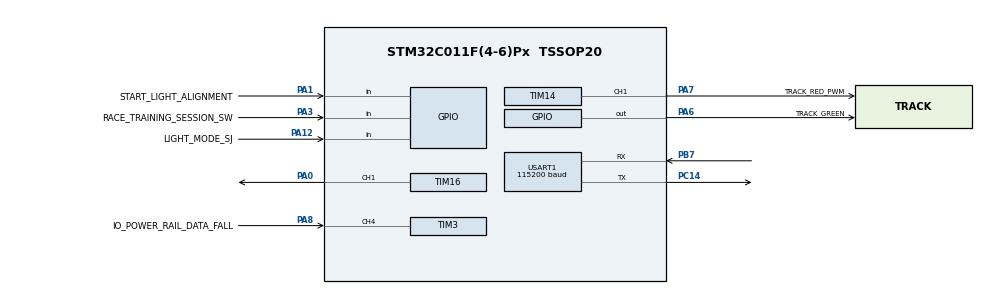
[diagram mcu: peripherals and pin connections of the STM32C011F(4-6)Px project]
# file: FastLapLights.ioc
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Dma.Request0=TIM16_CH1
Dma.Request1=USART1_TX
Dma.TIM16_CH1.0.Direction=DMA_MEMORY_TO_PERIPH
Dma.TIM16_CH1.0.EventEnable=DISABLE
Dma.TIM16_CH1.0.Instance=DMA1_Channel1
Dma.TIM16_CH1.0.MemDataAlignment=DMA_MDATAALIGN_HALFWORD
Dma.TIM16_CH1.0.MemInc=DMA_MINC_ENABLE
Dma.TIM16_CH1.0.Mode=DMA_NORMAL
Dma.TIM16_CH1.0.PeriphDataAlignment=DMA_PDATAALIGN_HALFWORD
Dma.TIM16_CH1.0.PeriphInc=DMA_PINC_DISABLE
Dma.TIM16_CH1.0.Polarity=HAL_DMAMUX_REQ_GEN_RISING
Dma.TIM16_CH1.0.Priority=DMA_PRIORITY_LOW
Dma.TIM16_CH1.0.RequestNumber=1
Dma.TIM16_CH1.0.SignalID=NONE
Dma.TIM16_CH1.0.SyncEnable=DISABLE
Dma.TIM16_CH1.0.SyncPolarity=HAL_DMAMUX_SYNC_NO_EVENT
Dma.TIM16_CH1.0.SyncRequestNumber=1
Dma.TIM16_CH1.0.SyncSignalID=NONE
Dma.USART1_TX.1.Direction=DMA_MEMORY_TO_PERIPH
Dma.USART1_TX.1.EventEnable=DISABLE
Dma.USART1_TX.1.Instance=DMA1_Channel2
Dma.USART1_TX.1.MemDataAlignment=DMA_MDATAALIGN_BYTE
Dma.USART1_TX.1.MemInc=DMA_MINC_ENABLE
Dma.USART1_TX.1.Mode=DMA_NORMAL
Dma.USART1_TX.1.PeriphDataAlignment=DMA_PDATAALIGN_BYTE
Dma.USART1_TX.1.PeriphInc=DMA_PINC_DISABLE
Dma.USART1_TX.1.Polarity=HAL_DMAMUX_REQ_GEN_RISING
Dma.USART1_TX.1.Priority=DMA_PRIORITY_LOW
Dma.USART1_TX.1.RequestNumber=1
Dma.USART1_TX.1.SignalID=NONE
Dma.USART1_TX.1.SyncEnable=DISABLE
Dma.USART1_TX.1.SyncPolarity=HAL_DMAMUX_SYNC_NO_EVENT
Dma.USART1_TX.1.SyncRequestNumber=1
Dma.USART1_TX.1.SyncSignalID=NONE
Mcu.Family=STM32C0
Mcu.Name=STM32C011F(4-6)Px
Mcu.Package=TSSOP20
NVIC.DMA1_Channel1_IRQn=true\:0\:0\:false\:false\:true\:false\:true\:true
NVIC.DMA1_Channel2_3_IRQn=true\:0\:0\:false\:false\:true\:false\:true\:true
NVIC.TIM3_IRQn=true\:0\:0\:false\:false\:true\:true\:true\:true
PA0.GPIO_Speed=GPIO_SPEED_FREQ_HIGH
PA0.Signal=S_TIM16_CH1
PA1.GPIO_Label=START_LIGHT_ALIGNMENT
PA1.GPIO_PuPd=GPIO_PULLUP
PA1.Signal=GPIO_Input
PA12\ [PA10].GPIO_Label=LIGHT_MODE_SJ
PA12\ [PA10].GPIO_PuPd=GPIO_PULLUP
PA12\ [PA10].Signal=GPIO_Input
PA13.Mode=Serial_Wire
PA13.Signal=DEBUG_SWDIO
PA14-BOOT0.Mode=Serial_Wire
PA14-BOOT0.Signal=DEBUG_SWCLK
PA3.GPIO_Label=RACE_TRAINING_SESSION_SW
PA3.GPIO_PuPd=GPIO_PULLUP
PA3.Signal=GPIO_Input
PA6.GPIO_Label=TRACK_GREEN
PA6.Signal=GPIO_Output
PA7.GPIO_Label=TRACK_RED_PWM
PA7.Signal=S_TIM14_CH1
PA8.GPIO_Label=IO_POWER_RAIL_DATA_FALL
PA8.Signal=S_TIM3_CH4
PB7.GPIO_ModeDefaultPP=GPIO_MODE_AF_PP
PB7.GPIO_PuPd=GPIO_PULLUP
PB7.Mode=Asynchronous
PB7.Signal=USART1_RX
PC14-OSCX_IN\ (PC14).GPIO_ModeDefaultPP=GPIO_MODE_AF_PP
PC14-OSCX_IN\ (PC14).Mode=Asynchronous
PC14-OSCX_IN\ (PC14).Signal=USART1_TX
ProjectManager.HeapSize=0x200
ProjectManager.StackSize=0x400
ProjectManager.TargetToolchain=STM32CubeIDE
RCC.ADCFreq_Value=48000000
RCC.AHBFreq_Value=48000000
RCC.CortexFreq_Value=48000000
RCC.EXTERNAL_CLOCK_VALUE=12288000
RCC.HCLKFreq_Value=48000000
RCC.HSE_VALUE=8000000
RCC.HSISYSCLKDivider=RCC_HSI_DIV1
RCC.HSI_VALUE=48000000
RCC.LSE_VALUE=32768
RCC.SYSCLKFreq_VALUE=48000000
SH.S_TIM14_CH1.0=TIM14_CH1,PWM Generation1 CH1
SH.S_TIM16_CH1.0=TIM16_CH1,PWM Generation1 CH1
SH.S_TIM3_CH4.0=TIM3_CH4,Input_Capture4_from_TI4
TIM14.Channel=TIM_CHANNEL_1
TIM14.Period=100
TIM14.Prescaler=47
TIM16.AutoReloadPreload=TIM_AUTORELOAD_PRELOAD_ENABLE
TIM16.Channel=TIM_CHANNEL_1
TIM16.Period=3-1
TIM16.Prescaler=20-1
TIM3.Channel-Input_Capture4_from_TI4=TIM_CHANNEL_4
TIM3.ICPolarity_CH4=TIM_INPUTCHANNELPOLARITY_BOTHEDGE
TIM3.Prescaler=74
USART1.BaudRate=115200
USART1.Mode=MODE_TX
USART1.VirtualMode-Asynchronous=VM_ASYNC
VP_TIM14_VS_ClockSourceINT.Mode=Enable_Timer
VP_TIM16_VS_ClockSourceINT.Mode=Enable_Timer
VP_TIM3_VS_ClockSourceINT.Mode=Internal
board=custom

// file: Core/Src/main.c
/* USER CODE BEGIN Header */
/**
 ******************************************************************************
 * @file           : main.c
 * @brief          : Main program body
 ******************************************************************************
 * @attention
 *
 * Copyright (c) 2025 STMicroelectronics.
 * All rights reserved.
 *
 * This software is licensed under terms that can be found in the LICENSE file
 * in the root directory of this software component.
 * If no LICENSE file comes with this software, it is provided AS-IS.
 *
 ******************************************************************************
 */
/* USER CODE END Header */
#include "main.h"

/* USER CODE BEGIN Includes */
#include "track_data_decoder.h"
#include "ws2812b_start_lights.h"
/* USER CODE END Includes */

/* USER CODE BEGIN PTD */
typedef enum {
	START_LIGHT_MODE,
	PIT_LANE_LIGHT_MODE
} LightMode;

typedef enum {
	ALIGNMENT_VERTICAL,
	ALIGNMENT_HORIZONTAL
}StartLightAlignment;

typedef enum {
	RACE,
	QUALIFYING_TRAINING
}SessionType;

typedef enum {
	RACE_STATE_STARTUP,
	RACE_STATE_RED_FLAG,
	RACE_STATE_YELLOW_FLAG,
	RACE_STATE_GREEN_FLAG,
	RACE_STATE_START_PROC,
	RACE_STATE_JUMP_START,
	RACE_STATE_OPEN
} RaceState;

typedef enum {
	UART_TX_BUFFER_FULL,
	UART_TX_BUFFER_TIMEOUT,
	UART_TX_FORCE
} UartTxTransmitReason;

typedef struct {
	RaceState curr;
	RaceState prev;
} RaceStateHistory;

typedef struct {
	uint8_t red_count; 			// 0 - 5
	uint8_t red_count_prev;
	uint8_t yellow_flag; 		// 0 - 1
	uint8_t yellow_flag_prev;
	uint8_t green_flag; 		// 0 - 1
	uint8_t green_flag_prev;
	uint8_t update_flag;
} StartLightValue;

typedef struct {
	uint16_t message_started;
	uint16_t start_time;
	uint16_t gap;
	uint16_t last_rising;
	uint16_t last_falling;
	uint16_t first_rising;
	uint16_t data;
} ManchesterDecoder;

typedef struct {
	uint8_t fuel;
	uint8_t position;
	uint8_t finished;
	uint8_t laps;
} DriverData;

typedef struct {
	DriverData 	driver_data[6];
	uint8_t		fastest_lap_driver;
	uint8_t		start_lights;
	uint8_t		lap_count;
	uint8_t		lap_count_nibble_completed;
	uint8_t		reset_event;
	RaceState	race_state;
	SessionType	session_type;
} RaceInfo;

/* USER CODE END PTD */

/* USER CODE BEGIN PD */
#define CIRC_BUF_LEN       	8U
#define UART_TX_BUF_LEN		(32U) //32U

#define HALF_BIT_TICKS   32
#define FULL_BIT_TICKS   64
#define GAP_THRESHOLD    132   // consider 160 as safer midpoint
#define GLITCH_FILTER    10    // ignore pulses shorter than ~16 µs
/* USER CODE END PD */

TIM_HandleTypeDef htim16;
DMA_HandleTypeDef hdma_tim16_ch1;

/* USER CODE BEGIN PV */
uint32_t 			track_counter = 0;
uint32_t 			millis_sync_prev = 0;
uint16_t 			millis_sync_state_change_flag = 0;

// manchester decoder
volatile ManchesterDecoder 	data_manchester[CIRC_BUF_LEN] = {0};
volatile uint16_t 			data_manchester_circular_index = 0;
volatile uint16_t 			data_manchester_circular_read_index = 0;
uint16_t 					difference_rw = 0;
volatile uint16_t 			track_data_available = 0;
uint16_t 					message_to_proceed = 0;
uint16_t					last_edge = 0;

// race state
RaceStateHistory 	race_state = {RACE_STATE_STARTUP, RACE_STATE_STARTUP};
StartLightValue 	start_light_value = {0};
uint8_t 			safetycar_debounce = 0; // neccessary because of ghost car messages
uint32_t 			green_flag_triggered_time = 0;
uint32_t 			safetycar_flash_interval = 0;
uint32_t 			green_flag_millis_flash = 0;
uint32_t 			jump_start_millis_flash = 0;

LightMode 			light_mode = START_LIGHT_MODE;
StartLightAlignment start_light_alignment = ALIGNMENT_HORIZONTAL;
SessionType 		session_type = RACE;
uint32_t 			start_light_change_time = 0;
HAL_StatusTypeDef 	dma_status_pwm = HAL_OK;

// driver data
DriverData			driver_data[6]								= {0};

// uart
static 	 uint8_t	uart_tx_buffer[UART_TX_BUF_LEN] 			;
uint32_t 			uart_tx_last_transmit						= 0;
/*
 * 0x01 - race state
 * 0x02 - driver data (fuel, laps, position)
 * 0x04 - start lights
 * 0x08 - reset
 * 0x10 - race finished
 * 0x20 - new fastest lap
 * 0x40 - session type (race, practice)
 */

volatile RaceInfo	uart_race_info = {
		.driver_data = {
				{ .fuel = 0, .position = 0, .finished = 0, .laps = 0 },
				{ .fuel = 0, .position = 0, .finished = 0, .laps = 0 },
				{ .fuel = 0, .position = 0, .finished = 0, .laps = 0 },
				{ .fuel = 0, .position = 0, .finished = 0, .laps = 0 },
				{ .fuel = 0, .position = 0, .finished = 0, .laps = 0 },
				{ .fuel = 0, .position = 0, .finished = 0, .laps = 0 }
		},
		.fastest_lap_driver = 0xFF,       // 0xFF no fastest lap yet
		.start_lights = 0,
		.lap_count = 0,
		.lap_count_nibble_completed = 1,
		.reset_event = 0,
		.race_state = RACE_STATE_STARTUP,
		.session_type = RACE
};

volatile uint16_t 	difference_channel2 = 0;
volatile uint16_t 	last_rising = 0;
/* USER CODE END PV */

void SystemClock_Config(void);
static void MX_GPIO_Init(void);
static void MX_DMA_Init(void);
static void MX_TIM3_Init(void);
static void MX_TIM14_Init(void);
static void MX_TIM16_Init(void);
static void MX_USART1_UART_Init(void);
/* USER CODE BEGIN PFP */
CuMessage decode_manchester(uint16_t message);
void track_data_callback(uint16_t capture, uint8_t direction);
void (*ptr_man_capture_isr)(uint16_t capture, uint8_t direction) = 0;
/* USER CODE END PFP */

/* USER CODE BEGIN 0 */

/*
 * circular buffer methods - manchester decoder
 */

/*static inline uint16_t circ_index(uint16_t i) {
	return i % CIRC_BUF_LEN;
}*/

static inline uint16_t circ_next(uint16_t i) {
	return (i + 1) & 0x0007; //% CIRC_BUF_LEN;
}

/*static inline uint16_t circ_prev(uint16_t i) {
	return (i + CIRC_BUF_LEN - 1) % CIRC_BUF_LEN;
}*/

static inline uint16_t circ_distance(uint16_t from, uint16_t to) {
	return (to >= from) ? (to - from) : (CIRC_BUF_LEN - from + to);
}

static inline void update_race_state(RaceStateHistory *stateHistory, RaceState newState) {
	stateHistory->prev = stateHistory->curr;
	stateHistory->curr = newState;
	uart_race_info.race_state = newState;
}

/*
 * update functions
 */

static inline void update_start_light_value_red(StartLightValue *startLightValue, uint8_t newValue) {
	startLightValue->red_count_prev = startLightValue->red_count;
	startLightValue->red_count = newValue;
	startLightValue->update_flag = 1;
	uart_race_info.start_lights = newValue;
}
static inline void update_start_light_value_green(StartLightValue *startLightValue, uint8_t newValue) {
	startLightValue->green_flag_prev = startLightValue->green_flag;
	startLightValue->green_flag = newValue;
	startLightValue->update_flag = 1;
}
static inline void update_start_light_value_yellow(StartLightValue *startLightValue, uint8_t newValue) {
	startLightValue->yellow_flag_prev = startLightValue->yellow_flag;
	startLightValue->yellow_flag = newValue;
	startLightValue->update_flag = 1;
}
/* USER CODE END 0 */

int main(void)
{

  /* USER CODE BEGIN 1 */
	ptr_man_capture_isr = track_data_callback;

  /* USER CODE END 1 */

  /* MCU Configuration--------------------------------------------------------*/

  /* Reset of all peripherals, Initializes the Flash interface and the Systick. */
  HAL_Init();

  /* Configure the system clock */
  SystemClock_Config();

  /* Initialize all configured peripherals */
  MX_GPIO_Init();
  MX_DMA_Init();
  MX_TIM3_Init();
  MX_TIM14_Init();
  MX_TIM16_Init();
  MX_USART1_UART_Init();
  /* USER CODE BEGIN 2 */

	// init ws2812b
	HAL_TIM_PWM_MspInit(&htim16);
	dma_status_pwm = start_lights_init(&htim16, TIM_CHANNEL_1, TIM_DIER_CC1DE);

	// init track interrupt
	//HAL_TIM_IC_Start_IT(&htim3, TIM_CHANNEL_4);
	LL_TIM_CC_EnableChannel(TIM3, LL_TIM_CHANNEL_CH4);
	LL_TIM_EnableIT_CC4(TIM3);
	LL_TIM_EnableCounter(TIM3);

	// init light behavior
	light_mode = HAL_GPIO_ReadPin(GPIOA, LIGHT_MODE_SJ_Pin) == 1 ? START_LIGHT_MODE : PIT_LANE_LIGHT_MODE;
	start_light_alignment = HAL_GPIO_ReadPin(START_LIGHT_ALIGNMENT_GPIO_Port, START_LIGHT_ALIGNMENT_Pin) == 1 ?
			ALIGNMENT_HORIZONTAL : ALIGNMENT_VERTICAL;
	session_type = HAL_GPIO_ReadPin(RACE_TRAINING_SESSION_SW_GPIO_Port, RACE_TRAINING_SESSION_SW_Pin) == 0 ? RACE : QUALIFYING_TRAINING;
	uart_race_info.session_type = session_type;

	// init track lights
	//HAL_TIM_PWM_Start(&htim14, TIM_CHANNEL_1); // red
	// Enable output
	LL_TIM_CC_EnableChannel(TIM14, LL_TIM_CHANNEL_CH1);
	// Enable counter
	LL_TIM_EnableCounter(TIM14);
	// Force update generation to apply settings
	//LL_TIM_GenerateEvent_UPDATE(TIM14);

	TIM14->CCR1 = 0;//80;
	HAL_GPIO_WritePin(TRACK_GREEN_GPIO_Port, TRACK_GREEN_Pin, GPIO_PIN_RESET);

	//HAL_UART_Receive_DMA(&huart1, uart_rx_buffer, UART_TX_BUF_LEN);

  /* USER CODE END 2 */

  /* Infinite loop */
	while (1)
	{

    /* USER CODE BEGIN 3 */

		// BLOCK 1 - DECODE MANCHESTER DATA
		difference_rw = circ_distance(data_manchester_circular_read_index, data_manchester_circular_index);
		if (3 < difference_rw){
			uint16_t read_to = data_manchester_circular_index;
			uint16_t read_index = data_manchester_circular_read_index;

			while (read_index != read_to){

				/*
				 * Process
				 *
				 * Filter the message of interest here
				 *
				 * For the lights we need safety car and status messages.
				 *
				 * If the safety car is released, choose this one. Otherwise we only
				 * need the status messages.
				 *
				 * Status messages
				 * 	lights should be indicated with 0x17 (and)
				 * 	jump start indicated with (((0x000F << 8) & message) == (0x001 << 11)) && ((0x000D << 4) & message)
				 *
				 * Safety car message
				 * 	indicated with 0b0000001111000000;
				 */

				if (( data_manchester[read_index].data> 512-1 ) && (data_manchester[read_index].data < 1024)){
					// car message
					if ( (data_manchester[read_index].data & (0x0007 << 6)) == (0x0007 << 6)){
						// safety car message
						if (data_manchester[read_index].data & (0x0001 << 1)){
							// safety car active - high priority message
							message_to_proceed = data_manchester[read_index].data;
						} else if (message_to_proceed == 0){
							// safety car message  - low priority message
							// necessary to detect if release was withdrawn
							message_to_proceed = data_manchester[read_index].data;
						}
					}
				} else if ((data_manchester[read_index].data > 4096-1) && (data_manchester[read_index].data < 8192)){
					// control unit message
					track_counter++; // message block repeats every 75ms

					uint16_t encode_signal = data_manchester[read_index].data;
					uint8_t controller =
							((encode_signal >> 0) & 0x01) << 2 |
							((encode_signal >> 1) & 0x01) << 1 |
							((encode_signal >> 2) & 0x01) << 0;

					uint8_t command =
							((encode_signal >> 3) & 0x01) << 4 |
							((encode_signal >> 4) & 0x01) << 3 |
							((encode_signal >> 5) & 0x01) << 2 |
							((encode_signal >> 6) & 0x01) << 1 |
							((encode_signal >> 7) & 0x01) << 0;

					uint8_t value =
							((encode_signal >> 8) & 0x01) << 3 |
							((encode_signal >> 9) & 0x01) << 2 |
							((encode_signal >> 10) & 0x01) << 1 |
							((encode_signal >> 11) & 0x01) << 0;

					if ((11 == command) && (1 == value)){
						// jump start
						message_to_proceed = data_manchester[read_index].data;
					} else if ((16 == command) && (7 == controller)){
						// start light
						message_to_proceed = data_manchester[read_index].data;
					} else {
						// catch unprocessed cu data for uart

						// unfortunately we have to go through various if statements.
						if ((6 > controller) && !(0 == command)){
							// things we never ever want to proceed
							if (4 == command){
								if (8 > value){
									// fuel level of car - 7 is full
									uart_race_info.driver_data[controller].fuel = value;
								} else if (16 > value){
									// not really neccessary. Called at jump start
									uart_race_info.driver_data[controller].fuel = value - 8;
								}
							}else if (6 == command){
								if (value < 9){
									// postition
									value--; // position -1 to fit in 4 bits
									uart_race_info.driver_data[controller].position = value;
								} else if (9 == value) {
									// reset lap counter and positions
									uart_race_info.reset_event = 1;
									uart_race_info.lap_count = 0;
									for (uint8_t _cntrl = 0; _cntrl < 6; _cntrl++){
										uart_race_info.driver_data[controller].finished = 0;
										uart_race_info.driver_data[controller].position = 0;
										uart_race_info.driver_data[controller].fuel = 0;
										uart_race_info.driver_data[controller].laps = 0;
									}
								}
							} else if (7 == command){
								// driver finishes race
								uart_race_info.driver_data[controller].finished = 1;
							} else if (8 == command){
								// driver finishes lap / race with new fastest lap
								uart_race_info.fastest_lap_driver = controller;
								uart_race_info.driver_data[controller].laps++;
							} else if (9 == command){
								// driver finishes lap / race wiout new fastest lap
								uart_race_info.driver_data[controller].laps++;
							} else if ((10 == command) && (8 > value)){
								// fuel level of car - 7 is full
								uart_race_info.driver_data[controller].fuel = value;
							}
						} else if ((17 == command) && (7 == controller)){
							// first nibble lap count leader
							uart_race_info.lap_count = value << 4;
							uart_race_info.lap_count_nibble_completed = 0;
						} else if ((18 == command) && (7 == controller)){
							// first nibble lap count leader
							uart_race_info.lap_count |= value;
							uart_race_info.lap_count_nibble_completed = 1;
						}
					} // catch unprocessed cu data for uart end
				} // control unit message end

				if (message_to_proceed > 0)
					track_data_available = 1;

				read_index = circ_next(read_index); // ends with actual write index
			}
			data_manchester_circular_read_index = read_index;
		}

		// BLOCK 2 - PROCESS ALTERNATING PROCESSES

		/*
		 * Use control unit message interval as clock (kind of synchronization pulse)
		 * for time based alterations at the lights. This is necessary when
		 * more then one controller controls different lights on the track
		 * to avoid drift in blinks.
		 *
		 * The increment frequency is 13.3 Hz (75ms)
		 */
		millis_sync_state_change_flag = millis_sync_prev != track_counter ? 1 : 0;
		millis_sync_prev = track_counter;

		// do some stuff with 1.3 Hz (750ms)
		if ((9 < track_counter - uart_tx_last_transmit) && (1 == millis_sync_state_change_flag)){
			/*
			 * Read Race State
			 */
			session_type = HAL_GPIO_ReadPin(RACE_TRAINING_SESSION_SW_GPIO_Port, RACE_TRAINING_SESSION_SW_Pin) == 0 ? RACE : QUALIFYING_TRAINING;
			uart_race_info.session_type = session_type;

			/*
			 * Transmit race state info
			 */
			uint8_t write_index = 0;
			for (uint8_t _driver = 0; _driver < 6; _driver++){
				uart_tx_buffer[write_index++] = 0x00 | uart_race_info.driver_data[_driver].position;
				uart_tx_buffer[write_index++] = 0x00 | uart_race_info.driver_data[_driver].fuel;
				uart_tx_buffer[write_index++] = 0x00 | uart_race_info.driver_data[_driver].laps;
				uart_tx_buffer[write_index++] = 0x00 | uart_race_info.driver_data[_driver].finished;
			}

			uart_tx_buffer[write_index++] = 0x00 | uart_race_info.fastest_lap_driver;
			uart_tx_buffer[write_index++] = 0x00 | uart_race_info.start_lights;
			uart_tx_buffer[write_index++] = 0x00 | uart_race_info.lap_count;
			uart_tx_buffer[write_index++] = 0x00 | uart_race_info.reset_event;
			uart_tx_buffer[write_index++] = 0x00 | uart_race_info.race_state;
			uart_tx_buffer[write_index++] = 0x00 | uart_race_info.session_type;

			uart_tx_buffer[write_index++] = (0xFF00 & track_counter) >> 8;
			uart_tx_buffer[write_index++] = (0x00FF & track_counter);

			LL_DMA_DisableChannel(DMA1, LL_DMA_CHANNEL_2);
			LL_DMA_EnableIT_TC(DMA1, LL_DMA_CHANNEL_2); // RX complete interrupt
			LL_DMA_EnableChannel(DMA1, LL_DMA_CHANNEL_2);

			// reset track reset event
			uart_race_info.reset_event = 0;
		}

		// BLOCK 3 - PROCESS THE MESSAGES THAT CONTROLS THE LIGHTS

		/*
		 * Process the messages
		 *
		 * Assumption is, that the execution interval is smaller than 75ms.
		 * This is the time until the next message block will be sent by the control unit.
		 *
		 * If this is the case, only one message contains data of interest.
		 * A really unlikely case is, when the safety car button will be pressed in the same
		 * message block the starting lights went off. But this is almost impossible due to
		 * bufferical limits. Try it, but you have round about 6.5ms to engage safety car key
		 * after the start lights went off ;)
		 *
		 */
		if (track_data_available == 1){
			track_data_available = 0;

			// decode cu message
			CuMessage decoded_data = decode_manchester(message_to_proceed);
			message_to_proceed = 0;

			// set start light instantly
			if (CU_START_LIGHT == decoded_data.type){
				update_start_light_value_red(&start_light_value, decoded_data.value);

				if (decoded_data.value == 5 ){
					if (race_state.curr != RACE_STATE_START_PROC) // if start proc then it relates to it
						update_race_state(&race_state, RACE_STATE_RED_FLAG);
				} else if (decoded_data.value == 1) //
					update_race_state(&race_state, RACE_STATE_START_PROC);
				else if (decoded_data.value == 0) {
					if  ((race_state.curr == RACE_STATE_START_PROC) && race_state.prev == RACE_STATE_RED_FLAG){
						start_light_change_time = track_counter;
					}
					else if (race_state.curr == RACE_STATE_RED_FLAG){
						update_race_state(&race_state, RACE_STATE_GREEN_FLAG);
						green_flag_triggered_time = track_counter;
					}
				}
			}

			if (RACE_STATE_START_PROC == race_state.curr){
				if (!start_light_value.red_count && (track_counter - start_light_change_time > 6)){ // (!start_light_value.red_count && (millis - start_light_change_time > 400))
					update_race_state(&race_state, RACE_STATE_OPEN);
					if ((PIT_LANE_LIGHT_MODE == light_mode) || (QUALIFYING_TRAINING == session_type))
						start_light_value.update_flag = 1;
				}
			}

			if (CU_CONTROLLER_JUMPSTART == decoded_data.type){
				update_race_state(&race_state, RACE_STATE_JUMP_START);
			}

			// check for yellow flag
			if (CU_CONTROLLER_SAFETY_CAR == decoded_data.type){
				if (decoded_data.value && (race_state.curr != RACE_STATE_YELLOW_FLAG))
					safetycar_debounce++;

				if (!decoded_data.value && (race_state.curr == RACE_STATE_YELLOW_FLAG))
					safetycar_debounce--;

				if ((1 < safetycar_debounce) && (race_state.curr != RACE_STATE_YELLOW_FLAG))
					update_race_state(&race_state, RACE_STATE_YELLOW_FLAG);

				if ((safetycar_debounce == 0) && (race_state.curr == RACE_STATE_YELLOW_FLAG)){
					update_race_state(&race_state, RACE_STATE_GREEN_FLAG);
					green_flag_triggered_time = track_counter;
				}
			}
		}

		/*
		 * Update the lights and update race state if required (green flag)
		 */

		// start light value changed
		if (start_light_value.red_count != start_light_value.red_count_prev)
			update_start_light_value_red(&start_light_value, start_light_value.red_count);

		// SAFETY CAR
		if (RACE_STATE_YELLOW_FLAG == race_state.curr){
			if (track_counter - safetycar_flash_interval > 3){ // (millis - safetycar_flash_interval > 200){
				safetycar_flash_interval = track_counter;
				if (0 == start_light_value.yellow_flag)
					update_start_light_value_yellow(&start_light_value, 1);
				else
					update_start_light_value_yellow(&start_light_value, 0);
			}
		} else {
			if (start_light_value.yellow_flag && (RACE_STATE_JUMP_START != race_state.curr)){
				update_start_light_value_yellow(&start_light_value, 0);
				update_start_light_value_yellow(&start_light_value, 0);
			}
		}

		// green flag
		if (RACE_STATE_GREEN_FLAG == race_state.curr){
			if (track_counter - green_flag_millis_flash > 7){ // (millis - green_flag_millis_flash > 500)
				if (!start_light_value.green_flag){
					green_flag_millis_flash = track_counter;
					update_start_light_value_green(&start_light_value, 1);
				}else {
					green_flag_millis_flash = track_counter;
					update_start_light_value_green(&start_light_value, 0);
				}
			}

			if (track_counter - green_flag_triggered_time > 142) //millis - green_flag_triggered_time > 10000
				update_race_state(&race_state, RACE_STATE_OPEN);
		}else{
			if ((1 == start_light_value.green_flag) && (RACE == session_type))
				update_start_light_value_green(&start_light_value, 0);
			else if ((0 == start_light_value.green_flag) && (QUALIFYING_TRAINING == session_type) && (RACE_STATE_OPEN == race_state.curr))
				update_start_light_value_green(&start_light_value, 1);
			else if ((1 == start_light_value.green_flag) && (QUALIFYING_TRAINING == session_type) && (RACE_STATE_OPEN != race_state.curr))
				update_start_light_value_green(&start_light_value, 0);
		}

		// JUMP START
		if (RACE_STATE_JUMP_START == race_state.curr){
			if (track_counter - jump_start_millis_flash > 7){ //(millis - jump_start_millis_flash > 500)
				jump_start_millis_flash = track_counter;
				update_start_light_value_red(&start_light_value, 5);
				if (!start_light_value.yellow_flag)
					update_start_light_value_yellow(&start_light_value, 1);
				else
					update_start_light_value_yellow(&start_light_value, 0);
			}
		}

		// BLOCK 4 - SET THE LIGHS

		/*
		 * state changes come with changes to the traffic lights
		 */
		if (start_light_value.update_flag){
			start_light_value.update_flag = 0;

			/*
			 * SET TRACK LIGHTS
			 */
			uint16_t track_light_green = 0;
			uint16_t track_light_red = 0;

			if (race_state.curr == RACE_STATE_RED_FLAG)
				track_light_red = 100;

			if (race_state.curr == RACE_STATE_YELLOW_FLAG)
				if (start_light_value.yellow_flag){
					track_light_green = 1;
					track_light_red = 66;
				}

			if (start_light_value.green_flag)
				track_light_green = 1;

			if (track_light_green)
				HAL_GPIO_WritePin(TRACK_GREEN_GPIO_Port, TRACK_GREEN_Pin, GPIO_PIN_SET);
			else
				HAL_GPIO_WritePin(TRACK_GREEN_GPIO_Port, TRACK_GREEN_Pin, GPIO_PIN_RESET);
			TIM14->CCR1 = track_light_red;

			/*
			 * SET PIT LANE LIGHT
			 */
			if (PIT_LANE_LIGHT_MODE == light_mode){
				if ((RACE_STATE_RED_FLAG == race_state.curr) || (RACE_STATE_JUMP_START == race_state.curr) ||
						((RACE_STATE_START_PROC == race_state.curr))){
					for (uint16_t lights = 0; lights < 3; lights++){
						if (0 == lights)
							start_lights_set_colour(lights, 0, 0, 0);
						else {
							start_lights_set_colour(lights, 200, 0, 0);
						}
					}
				} else {
					for (uint16_t lights = 0; lights < 3; lights++){
						if (0 == lights)
							start_lights_set_colour(lights, 0, 100, 0);
						else {
							start_lights_set_colour(lights, 0, 0, 0);
						}
					}
				}
			}

			/*
			 * SET START LIGHT
			 */
			if (START_LIGHT_MODE == light_mode){
				// it must be soldered from left to right
				if (ALIGNMENT_HORIZONTAL == start_light_alignment){
					// horizontal alignment
					if (start_light_value.yellow_flag){
						for (uint8_t ylight = 0; ylight < 5; ylight++){
							start_lights_set_colour(ylight, 80, 25 , 0); 		// front
							start_lights_set_colour(ylight+35, 80, 25 , 0); 	// back
						}
					} else {
						for (uint8_t ylight = 0; ylight < 5; ylight++){
							start_lights_set_colour(ylight, 0, 0 , 0);
							start_lights_set_colour(ylight+35, 0, 0 , 0);
						}
					}

					if (start_light_value.green_flag){
						for (uint8_t glight = 0; glight < 5; glight++){
							start_lights_set_colour(glight+5, 0, 200 , 0);		// front
							start_lights_set_colour(glight+30, 0, 200 , 0);	// back
						}
					} else {
						for (uint8_t glight = 0; glight < 5; glight++){
							start_lights_set_colour(glight+5, 0, 0 , 0);
							start_lights_set_colour(glight+30, 0, 0 , 0);
						}
					}

					// zero all red lights
					for (uint8_t light = 0; light < 20; light++){
						start_lights_set_colour(light+10, 0, 0, 0);
					}
					if (start_light_value.red_count){
						for (uint8_t light = 0; light < start_light_value.red_count; light++){
							start_lights_set_colour(light+10, 200, 0, 0);
							start_lights_set_colour(19-light, 200, 0, 0);
							start_lights_set_colour(24-light, 200, 0, 0);
							start_lights_set_colour(light+25, 200, 0, 0);
						}
					}
				} else {
					// vertical alignment of start lights
					if (start_light_value.yellow_flag){
						for (uint8_t ylight = 0; ylight < 5; ylight++){
							start_lights_set_colour(ylight*8, 80, 25 , 0); 	// front
							start_lights_set_colour(ylight*8+7, 80, 25 , 0); 	// back
						}
					} else {
						for (uint8_t ylight = 0; ylight < 5; ylight++){
							start_lights_set_colour(ylight*8, 0, 0 , 0);
							start_lights_set_colour(ylight*8+7, 0, 0 , 0);
						}
					}

					if (start_light_value.green_flag){
						for (uint8_t glight = 0; glight < 5; glight++){
							start_lights_set_colour(glight*8+1, 0, 200 , 0);		// front
							start_lights_set_colour(glight*8+1+5, 0, 200 , 0);	// back
						}
					} else {
						for (uint8_t glight = 0; glight < 5; glight++){
							start_lights_set_colour(glight*8+1, 0, 0 , 0);
							start_lights_set_colour(glight*8+1+5, 0, 0 , 0);
						}
					}

					// zero all red lights
					for (uint8_t light = 0; light < 5; light++){
						start_lights_set_colour(light*8+2, 0, 0, 0);
						start_lights_set_colour(light*8+3, 0, 0, 0);
						start_lights_set_colour(light*8+4, 0, 0, 0);
						start_lights_set_colour(light*8+5, 0, 0, 0);
					}
					if (start_light_value.red_count){
						// it must be soldered from left to right
						for (uint8_t light = 0; light < start_light_value.red_count; light++){
							start_lights_set_colour(light*8+2, 200, 0, 0);
							start_lights_set_colour(light*8+3, 200, 0, 0);
							start_lights_set_colour(light*8+4, 200, 0, 0);
							start_lights_set_colour(light*8+5, 200, 0, 0);
						}
					}
				}
			}

			dma_status_pwm = start_lights_refresh(&htim16);
		}

	}
  /* USER CODE END 3 */
}

void SystemClock_Config(void)
{

  LL_FLASH_SetLatency(LL_FLASH_LATENCY_1);

  /* HSI configuration and activation */
  LL_RCC_HSI_Enable();
  while(LL_RCC_HSI_IsReady() != 1)
  {
  }

  LL_RCC_HSI_SetCalibTrimming(64);
  LL_RCC_SetHSIDiv(LL_RCC_HSI_DIV_1);
  /* Set AHB prescaler*/
  LL_RCC_SetAHBPrescaler(LL_RCC_HCLK_DIV_1);

  /* Sysclk activation on the HSI */
  LL_RCC_SetSysClkSource(LL_RCC_SYS_CLKSOURCE_HSI);
  while(LL_RCC_GetSysClkSource() != LL_RCC_SYS_CLKSOURCE_STATUS_HSI)
  {
  }

  /* Set APB1 prescaler*/
  LL_RCC_SetAPB1Prescaler(LL_RCC_APB1_DIV_1);
  /* Update CMSIS variable (which can be updated also through SystemCoreClockUpdate function) */
  LL_SetSystemCoreClock(48000000);

   /* Update the time base */
  if (HAL_InitTick (TICK_INT_PRIORITY) != HAL_OK)
  {
    Error_Handler();
  }
}

static void MX_TIM3_Init(void)
{

  LL_TIM_InitTypeDef TIM_InitStruct = {0};

  LL_GPIO_InitTypeDef GPIO_InitStruct = {0};

  /* Peripheral clock enable */
  LL_APB1_GRP1_EnableClock(LL_APB1_GRP1_PERIPH_TIM3);

  LL_IOP_GRP1_EnableClock(LL_IOP_GRP1_PERIPH_GPIOA);
  /**TIM3 GPIO Configuration
  PA8   ------> TIM3_CH4
  */
  GPIO_InitStruct.Pin = LL_GPIO_PIN_8;
  GPIO_InitStruct.Mode = LL_GPIO_MODE_ALTERNATE;
  GPIO_InitStruct.Speed = LL_GPIO_SPEED_FREQ_LOW;
  GPIO_InitStruct.OutputType = LL_GPIO_OUTPUT_PUSHPULL;
  GPIO_InitStruct.Pull = LL_GPIO_PULL_NO;
  GPIO_InitStruct.Alternate = LL_GPIO_AF_12;
  LL_GPIO_Init(GPIOA, &GPIO_InitStruct);

  /* TIM3 interrupt Init */
  NVIC_SetPriority(TIM3_IRQn, 0);
  NVIC_EnableIRQ(TIM3_IRQn);

  TIM_InitStruct.Prescaler = 74;
  TIM_InitStruct.CounterMode = LL_TIM_COUNTERMODE_UP;
  TIM_InitStruct.Autoreload = 65535;
  TIM_InitStruct.ClockDivision = LL_TIM_CLOCKDIVISION_DIV1;
  LL_TIM_Init(TIM3, &TIM_InitStruct);
  LL_TIM_DisableARRPreload(TIM3);
  LL_TIM_SetClockSource(TIM3, LL_TIM_CLOCKSOURCE_INTERNAL);
  LL_TIM_SetTriggerOutput(TIM3, LL_TIM_TRGO_RESET);
  LL_TIM_DisableMasterSlaveMode(TIM3);
  LL_TIM_IC_SetActiveInput(TIM3, LL_TIM_CHANNEL_CH4, LL_TIM_ACTIVEINPUT_DIRECTTI);
  LL_TIM_IC_SetPrescaler(TIM3, LL_TIM_CHANNEL_CH4, LL_TIM_ICPSC_DIV1);
  LL_TIM_IC_SetFilter(TIM3, LL_TIM_CHANNEL_CH4, LL_TIM_IC_FILTER_FDIV1);
  LL_TIM_IC_SetPolarity(TIM3, LL_TIM_CHANNEL_CH4, LL_TIM_IC_POLARITY_BOTHEDGE);

}

static void MX_TIM14_Init(void)
{

  LL_TIM_InitTypeDef TIM_InitStruct = {0};
  LL_TIM_OC_InitTypeDef TIM_OC_InitStruct = {0};

  LL_GPIO_InitTypeDef GPIO_InitStruct = {0};

  /* Peripheral clock enable */
  LL_APB2_GRP1_EnableClock(LL_APB2_GRP1_PERIPH_TIM14);

  TIM_InitStruct.Prescaler = 47;
  TIM_InitStruct.CounterMode = LL_TIM_COUNTERMODE_UP;
  TIM_InitStruct.Autoreload = 100;
  TIM_InitStruct.ClockDivision = LL_TIM_CLOCKDIVISION_DIV1;
  LL_TIM_Init(TIM14, &TIM_InitStruct);
  LL_TIM_DisableARRPreload(TIM14);
  LL_TIM_OC_EnablePreload(TIM14, LL_TIM_CHANNEL_CH1);
  TIM_OC_InitStruct.OCMode = LL_TIM_OCMODE_PWM1;
  TIM_OC_InitStruct.OCState = LL_TIM_OCSTATE_DISABLE;
  TIM_OC_InitStruct.OCNState = LL_TIM_OCSTATE_DISABLE;
  TIM_OC_InitStruct.CompareValue = 0;
  TIM_OC_InitStruct.OCPolarity = LL_TIM_OCPOLARITY_HIGH;
  LL_TIM_OC_Init(TIM14, LL_TIM_CHANNEL_CH1, &TIM_OC_InitStruct);
  LL_TIM_OC_DisableFast(TIM14, LL_TIM_CHANNEL_CH1);
  LL_IOP_GRP1_EnableClock(LL_IOP_GRP1_PERIPH_GPIOA);
  /**TIM14 GPIO Configuration
  PA7   ------> TIM14_CH1
  */
  GPIO_InitStruct.Pin = LL_GPIO_PIN_7;
  GPIO_InitStruct.Mode = LL_GPIO_MODE_ALTERNATE;
  GPIO_InitStruct.Speed = LL_GPIO_SPEED_FREQ_LOW;
  GPIO_InitStruct.OutputType = LL_GPIO_OUTPUT_PUSHPULL;
  GPIO_InitStruct.Pull = LL_GPIO_PULL_NO;
  GPIO_InitStruct.Alternate = LL_GPIO_AF_4;
  LL_GPIO_Init(GPIOA, &GPIO_InitStruct);

}

static void MX_TIM16_Init(void)
{

  TIM_OC_InitTypeDef sConfigOC = {0};
  TIM_BreakDeadTimeConfigTypeDef sBreakDeadTimeConfig = {0};

  htim16.Instance = TIM16;
  htim16.Init.Prescaler = 20-1;
  htim16.Init.CounterMode = TIM_COUNTERMODE_UP;
  htim16.Init.Period = 3-1;
  htim16.Init.ClockDivision = TIM_CLOCKDIVISION_DIV1;
  htim16.Init.RepetitionCounter = 0;
  htim16.Init.AutoReloadPreload = TIM_AUTORELOAD_PRELOAD_ENABLE;
  if (HAL_TIM_Base_Init(&htim16) != HAL_OK)
  {
    Error_Handler();
  }
  if (HAL_TIM_PWM_Init(&htim16) != HAL_OK)
  {
    Error_Handler();
  }
  sConfigOC.OCMode = TIM_OCMODE_PWM1;
  sConfigOC.Pulse = 0;
  sConfigOC.OCPolarity = TIM_OCPOLARITY_HIGH;
  sConfigOC.OCNPolarity = TIM_OCNPOLARITY_HIGH;
  sConfigOC.OCFastMode = TIM_OCFAST_DISABLE;
  sConfigOC.OCIdleState = TIM_OCIDLESTATE_RESET;
  sConfigOC.OCNIdleState = TIM_OCNIDLESTATE_RESET;
  if (HAL_TIM_PWM_ConfigChannel(&htim16, &sConfigOC, TIM_CHANNEL_1) != HAL_OK)
  {
    Error_Handler();
  }
  sBreakDeadTimeConfig.OffStateRunMode = TIM_OSSR_DISABLE;
  sBreakDeadTimeConfig.OffStateIDLEMode = TIM_OSSI_DISABLE;
  sBreakDeadTimeConfig.LockLevel = TIM_LOCKLEVEL_OFF;
  sBreakDeadTimeConfig.DeadTime = 0;
  sBreakDeadTimeConfig.BreakState = TIM_BREAK_DISABLE;
  sBreakDeadTimeConfig.BreakPolarity = TIM_BREAKPOLARITY_HIGH;
  sBreakDeadTimeConfig.BreakFilter = 0;
  sBreakDeadTimeConfig.AutomaticOutput = TIM_AUTOMATICOUTPUT_DISABLE;
  if (HAL_TIMEx_ConfigBreakDeadTime(&htim16, &sBreakDeadTimeConfig) != HAL_OK)
  {
    Error_Handler();
  }
  HAL_TIM_MspPostInit(&htim16);

}

static void MX_USART1_UART_Init(void)
{

  LL_USART_InitTypeDef USART_InitStruct = {0};

  LL_GPIO_InitTypeDef GPIO_InitStruct = {0};

  LL_RCC_SetUSARTClockSource(LL_RCC_USART1_CLKSOURCE_PCLK1);

  /* Peripheral clock enable */
  LL_APB2_GRP1_EnableClock(LL_APB2_GRP1_PERIPH_USART1);

  LL_IOP_GRP1_EnableClock(LL_IOP_GRP1_PERIPH_GPIOB);
  LL_IOP_GRP1_EnableClock(LL_IOP_GRP1_PERIPH_GPIOC);
  /**USART1 GPIO Configuration
  PB7   ------> USART1_RX
  PC14-OSCX_IN (PC14)   ------> USART1_TX
  */
  GPIO_InitStruct.Pin = LL_GPIO_PIN_7;
  GPIO_InitStruct.Mode = LL_GPIO_MODE_ALTERNATE;
  GPIO_InitStruct.Speed = LL_GPIO_SPEED_FREQ_LOW;
  GPIO_InitStruct.OutputType = LL_GPIO_OUTPUT_PUSHPULL;
  GPIO_InitStruct.Pull = LL_GPIO_PULL_UP;
  GPIO_InitStruct.Alternate = LL_GPIO_AF_0;
  LL_GPIO_Init(GPIOB, &GPIO_InitStruct);

  GPIO_InitStruct.Pin = LL_GPIO_PIN_14;
  GPIO_InitStruct.Mode = LL_GPIO_MODE_ALTERNATE;
  GPIO_InitStruct.Speed = LL_GPIO_SPEED_FREQ_LOW;
  GPIO_InitStruct.OutputType = LL_GPIO_OUTPUT_PUSHPULL;
  GPIO_InitStruct.Pull = LL_GPIO_PULL_NO;
  GPIO_InitStruct.Alternate = LL_GPIO_AF_0;
  LL_GPIO_Init(GPIOC, &GPIO_InitStruct);

  /* USART1 DMA Init */

  /* USART1_TX Init */
  LL_DMA_SetPeriphRequest(DMA1, LL_DMA_CHANNEL_2, LL_DMAMUX_REQ_USART1_TX);

  LL_DMA_SetDataTransferDirection(DMA1, LL_DMA_CHANNEL_2, LL_DMA_DIRECTION_MEMORY_TO_PERIPH);

  LL_DMA_SetChannelPriorityLevel(DMA1, LL_DMA_CHANNEL_2, LL_DMA_PRIORITY_LOW);

  LL_DMA_SetMode(DMA1, LL_DMA_CHANNEL_2, LL_DMA_MODE_NORMAL);

  LL_DMA_SetPeriphIncMode(DMA1, LL_DMA_CHANNEL_2, LL_DMA_PERIPH_NOINCREMENT);

  LL_DMA_SetMemoryIncMode(DMA1, LL_DMA_CHANNEL_2, LL_DMA_MEMORY_INCREMENT);

  LL_DMA_SetPeriphSize(DMA1, LL_DMA_CHANNEL_2, LL_DMA_PDATAALIGN_BYTE);

  LL_DMA_SetMemorySize(DMA1, LL_DMA_CHANNEL_2, LL_DMA_MDATAALIGN_BYTE);

  /* USER CODE BEGIN USART1_Init 1 */
  LL_DMA_SetPeriphAddress(DMA1, LL_DMA_CHANNEL_2, (uint32_t)&USART1->TDR);
  LL_DMA_SetDataLength(DMA1, LL_DMA_CHANNEL_2, UART_TX_BUF_LEN);
  LL_DMA_SetMemoryAddress(DMA1, LL_DMA_CHANNEL_2, (uint32_t)uart_tx_buffer);
  LL_DMA_EnableIT_TC(DMA1, LL_DMA_CHANNEL_2);   // RX complete interrupt
  /* USER CODE END USART1_Init 1 */
  USART_InitStruct.PrescalerValue = LL_USART_PRESCALER_DIV1;
  USART_InitStruct.BaudRate = 115200;
  USART_InitStruct.DataWidth = LL_USART_DATAWIDTH_8B;
  USART_InitStruct.StopBits = LL_USART_STOPBITS_1;
  USART_InitStruct.Parity = LL_USART_PARITY_NONE;
  USART_InitStruct.TransferDirection = LL_USART_DIRECTION_TX;
  USART_InitStruct.HardwareFlowControl = LL_USART_HWCONTROL_NONE;
  USART_InitStruct.OverSampling = LL_USART_OVERSAMPLING_16;
  LL_USART_Init(USART1, &USART_InitStruct);
  LL_USART_SetTXFIFOThreshold(USART1, LL_USART_FIFOTHRESHOLD_1_8);
  LL_USART_SetRXFIFOThreshold(USART1, LL_USART_FIFOTHRESHOLD_1_8);
  LL_USART_DisableFIFO(USART1);
  LL_USART_ConfigAsyncMode(USART1);

  LL_USART_Enable(USART1);

  /* Polling USART1 initialisation */
  while((!(LL_USART_IsActiveFlag_TEACK(USART1))))
  {
  }

}

static void MX_DMA_Init(void)
{

  /* DMA controller clock enable */
  __HAL_RCC_DMA1_CLK_ENABLE();

  /* DMA interrupt init */
  /* DMA1_Channel1_IRQn interrupt configuration */
  HAL_NVIC_SetPriority(DMA1_Channel1_IRQn, 0, 0);
  HAL_NVIC_EnableIRQ(DMA1_Channel1_IRQn);
  /* DMA1_Channel2_3_IRQn interrupt configuration */
  NVIC_SetPriority(DMA1_Channel2_3_IRQn, 0);
  NVIC_EnableIRQ(DMA1_Channel2_3_IRQn);

}

static void MX_GPIO_Init(void)
{
  GPIO_InitTypeDef GPIO_InitStruct = {0};

  /* GPIO Ports Clock Enable */
  __HAL_RCC_GPIOB_CLK_ENABLE();
  __HAL_RCC_GPIOC_CLK_ENABLE();
  __HAL_RCC_GPIOA_CLK_ENABLE();

  /*Configure GPIO pin Output Level */
  HAL_GPIO_WritePin(TRACK_GREEN_GPIO_Port, TRACK_GREEN_Pin, GPIO_PIN_RESET);

  /*Configure GPIO pins : START_LIGHT_ALIGNMENT_Pin RACE_TRAINING_SESSION_SW_Pin LIGHT_MODE_SJ_Pin */
  GPIO_InitStruct.Pin = START_LIGHT_ALIGNMENT_Pin|RACE_TRAINING_SESSION_SW_Pin|LIGHT_MODE_SJ_Pin;
  GPIO_InitStruct.Mode = GPIO_MODE_INPUT;
  GPIO_InitStruct.Pull = GPIO_PULLUP;
  HAL_GPIO_Init(GPIOA, &GPIO_InitStruct);

  /*Configure GPIO pin : TRACK_GREEN_Pin */
  GPIO_InitStruct.Pin = TRACK_GREEN_Pin;
  GPIO_InitStruct.Mode = GPIO_MODE_OUTPUT_PP;
  GPIO_InitStruct.Pull = GPIO_NOPULL;
  GPIO_InitStruct.Speed = GPIO_SPEED_FREQ_LOW;
  HAL_GPIO_Init(TRACK_GREEN_GPIO_Port, &GPIO_InitStruct);

}

/* USER CODE BEGIN 4 */
void track_data_callback(uint16_t capture, uint8_t direction){
	/*
	 * 32 ticks are 50 us. This shortens the isr execution time by day and night.
	 * This is because we can replace the division with a bit shift.
	 */
	uint16_t diff = capture - last_edge;
	if (diff <= GLITCH_FILTER) {
		return; // glitch: nothing to do
	}

	if (GAP_THRESHOLD < diff){
		// if last edge occurs more then 400us ago
		data_manchester_circular_index = circ_next(data_manchester_circular_index);
		last_edge = capture;
		data_manchester[data_manchester_circular_index].data = 0x0001;
	}
	else{
		if ((48 < diff) && (diff < 80)){
			last_edge = capture;
			data_manchester[data_manchester_circular_index].data <<= 1;
			if (0 == direction)
				data_manchester[data_manchester_circular_index].data |= 0x0001;
		}
	}
}

void HAL_TIM_PWM_PulseFinishedCallback(TIM_HandleTypeDef *htim){
	if (htim->Instance == TIM16)
		start_lights_dma_callback();
}

CuMessage decode_manchester(uint16_t message){
	CuMessage msg;
	msg.value = 0;
	msg.chunk = message;
	if ((STATUS_DATA & message) == STATUS_DATA){
		if ((STARTING_LIGHT_MASK & message) == STARTING_LIGHT_MASK){
			// start light
			msg.type = CU_START_LIGHT;
			uint16_t valueReversed = (message >> 9);
			msg.value = ((valueReversed & 0b001) << 2) | (valueReversed & 0b010) | ((valueReversed & 0b100) >> 2);
		} else if ((((0x000F << 8) & message) == (0x001 << 11)) && ((0x000D << 4) & message)){
			// jump start
			msg.type = CU_CONTROLLER_JUMPSTART;
			msg.value = 1;
		} else {
			msg.type = CU_UNKNOWN;
		}

	} else if ((CAR_DATA & message) == CAR_DATA){
		if ((SAFETY_CAR_MASK & message) == SAFETY_CAR_MASK){
			msg.type = CU_CONTROLLER_SAFETY_CAR;
			msg.value = message & 0x01 << 1;
		} else {
			msg.type = CU_CONTROLLER_UNKNOWN;
		}
	} else {
		msg.type = CU_UNKNOWN;
	}
	return msg;
}

/* USER CODE END 4 */

void Error_Handler(void)
{
	__disable_irq();
	while (1)
	{
	}
}
